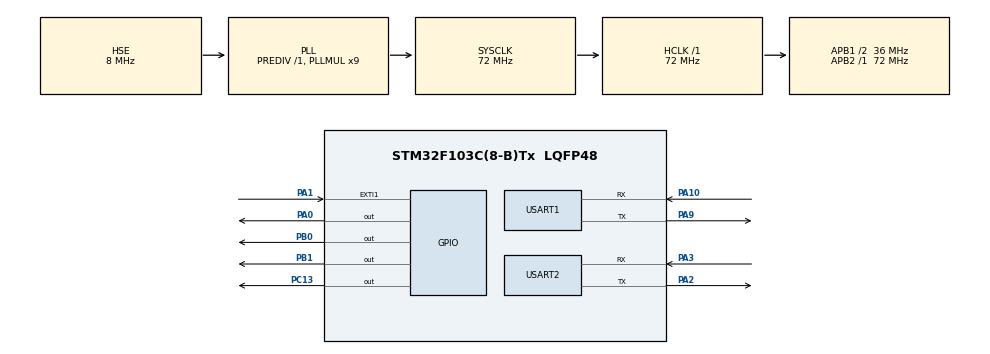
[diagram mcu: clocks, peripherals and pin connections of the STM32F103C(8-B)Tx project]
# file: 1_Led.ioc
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Mcu.Family=STM32F1
Mcu.Name=STM32F103C(8-B)Tx
Mcu.Package=LQFP48
NVIC.EXTI1_IRQn=true\:10\:0\:true\:false\:true\:true\:true\:true
NVIC.PriorityGroup=NVIC_PRIORITYGROUP_4
NVIC.USART2_IRQn=true\:0\:0\:false\:false\:true\:true\:true\:true
PA0-WKUP.GPIO_Speed=GPIO_SPEED_FREQ_HIGH
PA0-WKUP.PinState=GPIO_PIN_SET
PA0-WKUP.Signal=GPIO_Output
PA1.GPIO_ModeDefaultEXTI=GPIO_MODE_IT_FALLING
PA1.GPIO_PuPd=GPIO_PULLUP
PA1.Signal=GPXTI1
PA10.Mode=Asynchronous
PA10.Signal=USART1_RX
PA13.Mode=Serial_Wire
PA13.Signal=SYS_JTMS-SWDIO
PA14.Mode=Serial_Wire
PA14.Signal=SYS_JTCK-SWCLK
PA2.Mode=Asynchronous
PA2.Signal=USART2_TX
PA3.Mode=Asynchronous
PA3.Signal=USART2_RX
PA9.Mode=Asynchronous
PA9.Signal=USART1_TX
PB0.GPIO_Speed=GPIO_SPEED_FREQ_HIGH
PB0.PinState=GPIO_PIN_SET
PB0.Signal=GPIO_Output
PB1.GPIO_Speed=GPIO_SPEED_FREQ_HIGH
PB1.PinState=GPIO_PIN_SET
PB1.Signal=GPIO_Output
PC13-TAMPER-RTC.Signal=GPIO_Output
PD0-OSC_IN.Mode=HSE-External-Oscillator
PD0-OSC_IN.Signal=RCC_OSC_IN
PD1-OSC_OUT.Mode=HSE-External-Oscillator
PD1-OSC_OUT.Signal=RCC_OSC_OUT
ProjectManager.HeapSize=0x400
ProjectManager.StackSize=0x800
ProjectManager.TargetToolchain=CMake
RCC.AHBFreq_Value=72000000
RCC.APB1CLKDivider=RCC_HCLK_DIV2
RCC.APB1Freq_Value=36000000
RCC.APB1TimFreq_Value=72000000
RCC.APB2Freq_Value=72000000
RCC.APB2TimFreq_Value=72000000
RCC.HCLKFreq_Value=72000000
RCC.PLLMUL=RCC_PLL_MUL9
RCC.PLLSourceVirtual=RCC_PLLSOURCE_HSE
RCC.SYSCLKFreq_VALUE=72000000
RCC.SYSCLKSource=RCC_SYSCLKSOURCE_PLLCLK
RCC.USBFreq_Value=72000000
TIM4.Prescaler=71
USART1.VirtualMode=VM_ASYNC
USART2.VirtualMode=VM_ASYNC
VP_TIM4_VS_ClockSourceINT.Mode=Internal
board=custom

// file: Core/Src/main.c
/* USER CODE BEGIN Header */
/**
  ******************************************************************************
  * @file           : main.c
  * @brief          : Main program body
  ******************************************************************************
  * @attention
  *
  * Copyright (c) 2025 STMicroelectronics.
  * All rights reserved.
  *
  * This software is licensed under terms that can be found in the LICENSE file
  * in the root directory of this software component.
  * If no LICENSE file comes with this software, it is provided AS-IS.
  *
  ******************************************************************************
  */
/* USER CODE END Header */
#include "main.h"
#include "tim.h"
#include "usart.h"
#include "gpio.h"

/* USER CODE BEGIN Includes */
#include "led.h"
#include "key.h"
#include "dht11.h"
#include "delay.h"
#include "esp8266.h"
#include "onenet.h"
#include "oled.h"
/* USER CODE END Includes */

/* USER CODE BEGIN PD */
#define ESP8266_ONENET_INFO		"AT+CIPSTART=\"TCP\",\"mqtts.heclouds.com\",1883\r\n"

/* USER CODE END PD */

/* USER CODE BEGIN PV */

uint8_t temp,humi;

/* USER CODE END PV */

void SystemClock_Config(void);
/* USER CODE BEGIN PFP */
void Display_Init(void);
void Refresh_Data(void);

/* USER CODE END PFP */

int main(void)
{

  /* USER CODE BEGIN 1 */

  unsigned short timeCount = 100;	//发送间隔变量
  unsigned char *dataPtr = NULL;

  /* USER CODE END 1 */

  /* MCU Configuration--------------------------------------------------------*/

  /* Reset of all peripherals, Initializes the Flash interface and the Systick. */
  HAL_Init();

  /* Configure the system clock */
  SystemClock_Config();

  /* Initialize all configured peripherals */
  MX_GPIO_Init();
  MX_USART1_UART_Init();
  MX_TIM4_Init();
  MX_USART2_UART_Init();
  /* USER CODE BEGIN 2 */

  Led_Init();
  Key_Init();
  OLED_Init();
  while(DHT11_Init())
	{
    printf("DHT11_Init... \r\n");
    OLED_ShowString(0,0,"DHT11_Init...",16);
		delay_ms(500);
	}
  OLED_Clear(); OLED_ShowString(0,0,"Hardware init OK",16); delay_ms(1000);

  ESP8266_Init();

  printf("Connect MQTTs Server...\r\n");
	OLED_Clear(); OLED_ShowString(0,0,"Connect MQTTs Server...",16);
	while(ESP8266_SendCmd(ESP8266_ONENET_INFO, "CONNECT"))
		delay_ms(500);
	printf("Connect MQTT Server Success\r\n");
	OLED_ShowString(0,4,"Connect MQTT Server Success",16); delay_ms(500);

	OLED_Clear(); OLED_ShowString(0,0,"Device login ...",16);
	while(OneNet_DevLink())			//接入OneNET
	{
		ESP8266_SendCmd(ESP8266_ONENET_INFO, "CONNECT");
		delay_ms(500);
	}

  OneNET_Subscribe();

  Display_Init();

  /* USER CODE END 2 */

  /* Infinite loop */
  /* USER CODE BEGIN WHILE */
  while (1)
  {

    if(++timeCount >= 200)									//发送间隔5s
		{
			DHT11_Read_Data(&temp,&humi);
      printf("temp = %d,humi = %d\r\n",temp,humi);
      Refresh_Data();

			OneNet_SendData();									//发送数据

			timeCount = 0;
		}

    dataPtr = ESP8266_GetIPD(0);
		if(dataPtr != NULL)
			OneNet_RevPro(dataPtr);

    HAL_Delay(10); // 延时1秒
    /* USER CODE END WHILE */

  }
}

void SystemClock_Config(void)
{
  RCC_OscInitTypeDef RCC_OscInitStruct = {0};
  RCC_ClkInitTypeDef RCC_ClkInitStruct = {0};

  /** Initializes the RCC Oscillators according to the specified parameters
  * in the RCC_OscInitTypeDef structure.
  */
  RCC_OscInitStruct.OscillatorType = RCC_OSCILLATORTYPE_HSE;
  RCC_OscInitStruct.HSEState = RCC_HSE_ON;
  RCC_OscInitStruct.HSEPredivValue = RCC_HSE_PREDIV_DIV1;
  RCC_OscInitStruct.HSIState = RCC_HSI_ON;
  RCC_OscInitStruct.PLL.PLLState = RCC_PLL_ON;
  RCC_OscInitStruct.PLL.PLLSource = RCC_PLLSOURCE_HSE;
  RCC_OscInitStruct.PLL.PLLMUL = RCC_PLL_MUL9;
  if (HAL_RCC_OscConfig(&RCC_OscInitStruct) != HAL_OK)
  {
    Error_Handler();
  }

  /** Initializes the CPU, AHB and APB buses clocks
  */
  RCC_ClkInitStruct.ClockType = RCC_CLOCKTYPE_HCLK|RCC_CLOCKTYPE_SYSCLK
                              |RCC_CLOCKTYPE_PCLK1|RCC_CLOCKTYPE_PCLK2;
  RCC_ClkInitStruct.SYSCLKSource = RCC_SYSCLKSOURCE_PLLCLK;
  RCC_ClkInitStruct.AHBCLKDivider = RCC_SYSCLK_DIV1;
  RCC_ClkInitStruct.APB1CLKDivider = RCC_HCLK_DIV2;
  RCC_ClkInitStruct.APB2CLKDivider = RCC_HCLK_DIV1;

  if (HAL_RCC_ClockConfig(&RCC_ClkInitStruct, FLASH_LATENCY_2) != HAL_OK)
  {
    Error_Handler();
  }
}

/* USER CODE BEGIN 4 */
void Display_Init(void)
{

	OLED_Clear();

	OLED_ShowCHinese(0,0,1);//温
	OLED_ShowCHinese(18,0,2);//度
	OLED_ShowCHinese(36,0,0);//：
	OLED_ShowCHinese(72,0,3);//℃

	OLED_ShowCHinese(0,3,4);//湿
	OLED_ShowCHinese(18,3,5);//度
	OLED_ShowCHinese(36,3,0);//：
	OLED_ShowString(72,3,"%",16);//%

	OLED_ShowCHinese(0,6,6);//台
	OLED_ShowCHinese(18,6,7);//灯
	OLED_ShowCHinese(36,6,0);//：

}

void Refresh_Data(void)
{
	char buf[4];
	sprintf(buf, "%2d", temp);
	OLED_ShowString(54,0,buf,16); //温度值

	sprintf(buf, "%2d", humi);
	OLED_ShowString(54,3,buf,16); //湿度值

	if(Led_Status) OLED_ShowCHinese(54,6,8);//亮
	else OLED_ShowCHinese(54,6,9);//灭

}

/* USER CODE END 4 */

void Error_Handler(void)
{
  __disable_irq();
  while (1)
  {
  }
}
